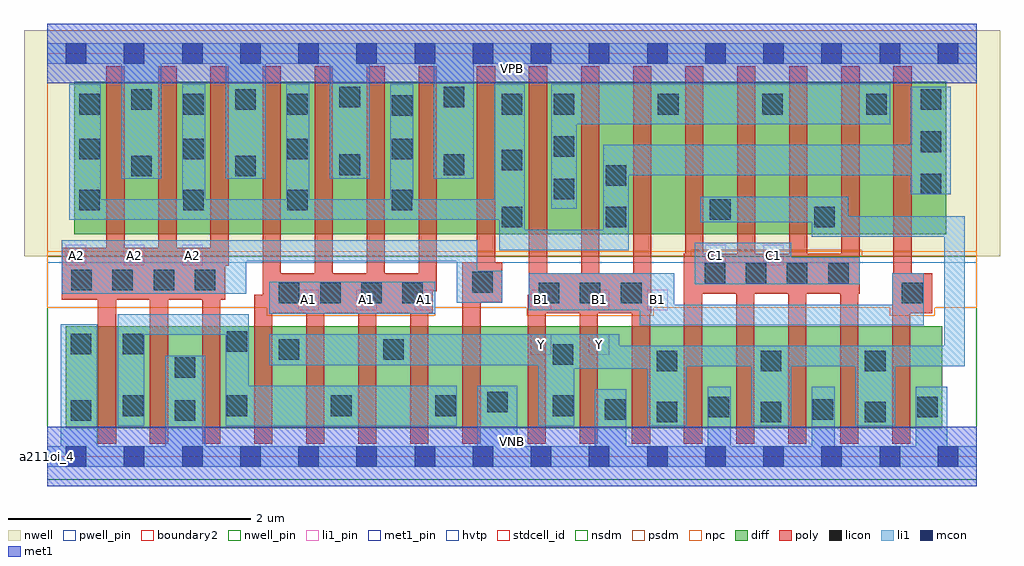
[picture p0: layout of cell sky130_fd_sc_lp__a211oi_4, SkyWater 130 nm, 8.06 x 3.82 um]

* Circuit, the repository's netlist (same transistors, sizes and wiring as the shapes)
* Copyright 2020 The SkyWater PDK Authors
*
* Licensed under the Apache License, Version 2.0 (the "License");
* you may not use this file except in compliance with the License.
* You may obtain a copy of the License at
*
*     https://www.apache.org/licenses/LICENSE-2.0
*
* Unless required by applicable law or agreed to in writing, software
* distributed under the License is distributed on an "AS IS" BASIS,
* WITHOUT WARRANTIES OR CONDITIONS OF ANY KIND, either express or implied.
* See the License for the specific language governing permissions and
* limitations under the License.
*
* SPDX-License-Identifier: Apache-2.0

.SUBCKT sky130_fd_sc_lp__a211oi_4 A1 A2 B1 C1 VGND VNB VPB VPWR Y
*.PININFO A1:I A2:I B1:I C1:I VGND:I VNB:I VPB:I VPWR:I Y:O
MMPA0 pndA A1 VPWR VPB sky130_fd_pr__pfet_01v8_hvt m=4 w=1.26U l=0.15U mult=1 sa=0.265
+ sb=0.265 sd=0.28 area=0.063 perim=1.14
MMPA1 pndA A2 VPWR VPB sky130_fd_pr__pfet_01v8_hvt m=4 w=1.26U l=0.15U mult=1 sa=0.265
+ sb=0.265 sd=0.28 area=0.063 perim=1.14
MMPB0 pndB B1 pndA VPB sky130_fd_pr__pfet_01v8_hvt m=4 w=1.26U l=0.15U mult=1 sa=0.265
+ sb=0.265 sd=0.28 area=0.063 perim=1.14
MMPC0 Y C1 pndB VPB sky130_fd_pr__pfet_01v8_hvt m=4 w=1.26U l=0.15U mult=1 sa=0.265
+ sb=0.265 sd=0.28 area=0.063 perim=1.14
MMNA0 Y A1 sndA1 VNB sky130_fd_pr__nfet_01v8 m=4 w=0.84U l=0.15U mult=1 sa=0.265
+ sb=0.265 sd=0.28 area=0.063 perim=1.14
MMNA1 sndA1 A2 VGND VNB sky130_fd_pr__nfet_01v8 m=4 w=0.84U l=0.15U mult=1 sa=0.265
+ sb=0.265 sd=0.28 area=0.063 perim=1.14
MMNB0 Y B1 VGND VNB sky130_fd_pr__nfet_01v8 m=4 w=0.84U l=0.15U mult=1 sa=0.265
+ sb=0.265 sd=0.28 area=0.063 perim=1.14
MMNC0 Y C1 VGND VNB sky130_fd_pr__nfet_01v8 m=4 w=0.84U l=0.15U mult=1 sa=0.265
+ sb=0.265 sd=0.28 area=0.063 perim=1.14
.ENDS sky130_fd_sc_lp__a211oi_4

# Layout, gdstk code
import gdstk
lib = gdstk.Library(unit=1e-6, precision=1e-09)
def R(c, l, rs):  # rectangles x0, y0, x1, y1
    for r in rs: c.add(gdstk.rectangle(r[:2], r[2:], *l))
def A(c, l, x, y, w, h, nx, ny, dx, dy):  # array of equal rectangles
    R(c, l, [(x+i*dx, y+j*dy, x+i*dx+w, y+j*dy+h) for i in range(nx) for j in range(ny)])
def P(c, l, *ps):  # polygons
    for p in ps: c.add(gdstk.Polygon(p, *l))
nwell_pin = (64, 16)
nwell = (64, 20)
diff = (65, 20)
poly = (66, 20)
licon = (66, 44)
li1_pin = (67, 16)
li1 = (67, 20)
mcon = (67, 44)
met1_pin = (68, 16)
met1 = (68, 20)
hvtp = (78, 44)
stdcell_id = (81, 4)
nsdm = (93, 44)
psdm = (94, 20)
npc = (95, 20)
pwell_pin = (122, 16)
boundary2 = (236, 0)

sky130_fd_sc_lp__a211oi_ = lib.new_cell('sky130_fd_sc_lp__a211oi_4')
R(sky130_fd_sc_lp__a211oi_, nwell_pin, [(0,3.085,7.68,3.33)])
R(sky130_fd_sc_lp__a211oi_, nwell, [(-0.19,1.655,7.87,3.52)])
R(sky130_fd_sc_lp__a211oi_, diff, [(0.155,0.235,7.395,1.075), (0.225,1.835,7.425,3.095)])
P(sky130_fd_sc_lp__a211oi_, poly, [(1.5,3.225),(1.35,3.225),(1.35,1.725),(1.07,1.725),(1.07,3.225),(0.92,3.225),(0.92,1.725),(0.64,1.725),(0.64,3.225),(0.49,3.225),(0.49,1.725),(0.12,1.725),(0.12,1.295),(0.42,1.295),(0.42,0.105),(0.57,0.105),(0.57,1.295),(0.85,1.295),(0.85,0.105),(1,0.105),(1,1.295),(1.28,1.295),(1.28,0.105),(1.43,0.105),(1.43,1.295),(1.47,1.295),(1.47,1.575),(1.5,1.575)],
  [(3.22,3.225),(3.07,3.225),(3.07,1.515),(2.79,1.515),(2.79,3.225),(2.64,3.225),(2.64,1.515),(2.36,1.515),(2.36,3.225),(2.21,3.225),(2.21,1.515),(1.93,1.515),(1.93,3.225),(1.78,3.225),(1.78,1.335),(1.71,1.335),(1.71,0.105),(1.86,0.105),(1.86,1.185),(2.14,1.185),(2.14,0.105),(2.29,0.105),(2.29,1.185),(2.57,1.185),(2.57,0.105),(2.72,0.105),(2.72,1.185),(3,1.185),(3,0.105),(3.15,0.105),(3.15,1.185),(3.185,1.185),(3.185,1.365),(3.22,1.365)],
  [(3.76,1.605),(3.7,1.605),(3.7,3.225),(3.55,3.225),(3.55,1.605),(3.43,1.605),(3.43,0.105),(3.58,0.105),(3.58,1.275),(3.76,1.275)],
  [(4.99,3.225),(4.84,3.225),(4.84,1.515),(4.56,1.515),(4.56,3.225),(4.41,3.225),(4.41,1.515),(4.13,1.515),(4.13,3.225),(3.98,3.225),(3.98,1.335),(3.97,1.335),(3.97,0.105),(4.12,0.105),(4.12,1.185),(4.4,1.185),(4.4,0.105),(4.55,0.105),(4.55,1.185),(4.83,1.185),(4.83,0.105),(4.98,0.105),(4.98,1.185),(4.99,1.185)],
  [(6.71,3.225),(6.56,3.225),(6.56,1.675),(6.28,1.675),(6.28,3.225),(6.13,3.225),(6.13,1.675),(5.85,1.675),(5.85,3.225),(5.7,3.225),(5.7,1.675),(5.42,1.675),(5.42,3.225),(5.27,3.225),(5.27,1.675),(5.26,1.675),(5.26,0.105),(5.41,0.105),(5.41,1.345),(5.69,1.345),(5.69,0.105),(5.84,0.105),(5.84,1.345),(6.12,1.345),(6.12,0.105),(6.27,0.105),(6.27,1.345),(6.55,1.345),(6.55,0.105),(6.7,0.105),(6.7,1.345),(6.71,1.345)],
  [(7.31,1.515),(7.14,1.515),(7.14,3.225),(6.99,3.225),(6.99,1.515),(6.98,1.515),(6.98,0.105),(7.13,0.105),(7.13,1.185),(7.31,1.185)])
A(sky130_fd_sc_lp__a211oi_, licon, 5.035, 0.285, 0.17, 0.17, 3, 2, 0.86, 0.42)
A(sky130_fd_sc_lp__a211oi_, licon, 0.625, 0.335, 0.17, 0.17, 4, 1, 0.86, 0)
A(sky130_fd_sc_lp__a211oi_, licon, 1.915, 1.265, 0.17, 0.17, 4, 1, 0.34, 0)
A(sky130_fd_sc_lp__a211oi_, licon, 4.06, 1.265, 0.17, 0.17, 3, 1, 0.34, 0)
A(sky130_fd_sc_lp__a211oi_, licon, 0.2, 1.375, 0.17, 0.17, 4, 1, 0.34, 0)
A(sky130_fd_sc_lp__a211oi_, licon, 5.43, 1.425, 0.17, 0.17, 4, 1, 0.34, 0)
A(sky130_fd_sc_lp__a211oi_, licon, 0.265, 2.035, 0.17, 0.17, 4, 2, 0.86, 0.42)
A(sky130_fd_sc_lp__a211oi_, licon, 7.215, 2.165, 0.17, 0.17, 1, 3, 0, 0.35)
A(sky130_fd_sc_lp__a211oi_, licon, 0.265, 2.825, 0.17, 0.17, 3, 1, 0.86, 0)
A(sky130_fd_sc_lp__a211oi_, licon, 4.185, 2.825, 0.17, 0.17, 4, 1, 0.86, 0)
R(sky130_fd_sc_lp__a211oi_, licon, [(0.195,0.295,0.365,0.465), (1.055,0.295,1.225,0.465), (4.605,0.305,4.775,0.475), (6.325,0.305,6.495,0.475), (5.465,0.325,5.635,0.495), (7.185,0.325,7.355,0.495), (4.175,0.335,4.345,0.505), (3.635,0.365,3.805,0.535), (1.055,0.65,1.225,0.82), (4.175,0.76,4.345,0.93), (1.915,0.8,2.085,0.97), (2.775,0.8,2.945,0.97), (0.195,0.845,0.365,1.015), (0.625,0.845,0.795,1.015), (1.485,0.865,1.655,1.035), (7.06,1.265,7.23,1.435), (3.51,1.355,3.68,1.525), (3.755,1.895,3.925,2.065), (4.615,1.895,4.785,2.065), (6.335,1.895,6.505,2.065), (5.475,1.955,5.645,2.125), (4.185,2.125,4.355,2.295), (4.615,2.235,4.785,2.405), (0.695,2.315,0.865,2.485), (1.555,2.315,1.725,2.485), (2.415,2.325,2.585,2.495), (3.275,2.325,3.445,2.495), (3.755,2.365,3.925,2.535), (4.185,2.475,4.355,2.645), (2.845,2.815,3.015,2.985), (3.755,2.825,3.925,2.995), (0.695,2.865,0.865,3.035), (1.555,2.865,1.725,3.035), (2.415,2.885,2.585,3.055), (3.275,2.885,3.445,3.055)])
A(sky130_fd_sc_lp__a211oi_, li1_pin, 2.075, 1.21, 0.17, 0.17, 3, 1, 0.48, 0)
A(sky130_fd_sc_lp__a211oi_, li1_pin, 3.995, 1.21, 0.17, 0.17, 3, 1, 0.48, 0)
A(sky130_fd_sc_lp__a211oi_, li1_pin, 0.155, 1.58, 0.17, 0.17, 3, 1, 0.48, 0)
R(sky130_fd_sc_lp__a211oi_, li1_pin, [(3.995,0.84,4.165,1.01), (4.475,0.84,4.645,1.01), (5.435,1.58,5.605,1.75), (5.915,1.58,6.085,1.75)])
R(sky130_fd_sc_lp__a211oi_, li1, [(1.835,1.18,3.205,1.445)])
P(sky130_fd_sc_lp__a211oi_, li1, [(7.68,3.415),(0,3.415),(0,3.245),(0.615,3.245),(0.615,2.295),(0.945,2.295),(0.945,3.245),(1.475,3.245),(1.475,2.295),(1.805,2.295),(1.805,3.245),(2.335,3.245),(2.335,2.295),(2.665,2.295),(2.665,3.245),(3.195,3.245),(3.195,2.295),(3.525,2.295),(3.525,3.245),(7.68,3.245)],
  [(7.58,1.985),(6.615,1.985),(6.615,2.145),(5.395,2.145),(5.395,1.935),(6.315,1.935),(6.315,1.815),(7.41,1.815),(7.41,0.915),(4.725,0.915),(4.725,1.01),(1.835,1.01),(1.835,0.755),(4.055,0.755),(4.055,0.255),(4.355,0.255),(4.355,0.725),(4.955,0.725),(4.955,0.255),(5.285,0.255),(5.285,0.745),(5.815,0.745),(5.815,0.255),(6.145,0.255),(6.145,0.745),(6.675,0.745),(6.675,0.255),(7.005,0.255),(7.005,0.745),(7.58,0.745)],
  [(7.465,3.055),(7.135,3.055),(7.135,2.575),(4.595,2.575),(4.595,1.875),(3.945,1.875),(3.945,3.075),(3.695,3.075),(3.695,2.125),(3.025,2.125),(3.025,3.075),(2.835,3.075),(2.835,2.125),(2.165,2.125),(2.165,3.075),(1.975,3.075),(1.975,2.125),(1.305,2.125),(1.305,3.075),(1.115,3.075),(1.115,2.125),(0.445,2.125),(0.445,3.075),(0.185,3.075),(0.185,1.955),(3.735,1.955),(3.735,1.705),(4.805,1.705),(4.805,2.325),(7.135,2.325),(7.135,2.165),(7.465,2.165)],
  [(3.385,0.585),(1.665,0.585),(1.665,1.175),(0.585,1.175),(0.585,0.255),(0.805,0.255),(0.805,1.005),(1.475,1.005),(1.475,0.255),(3.385,0.255)],
  [(3.76,1.535),(3.555,1.535),(3.555,1.785),(0.12,1.785),(0.12,1.345),(1.645,1.345),(1.645,1.615),(3.385,1.615),(3.385,1.27),(3.76,1.27)],
  [(7.24,1.515),(6.98,1.515),(6.98,1.255),(5.18,1.255),(5.18,1.515),(3.98,1.515),(3.98,1.21),(4.895,1.21),(4.895,1.085),(7.24,1.085)],
  [(7.68,0.085),(7.435,0.085),(7.435,0.575),(7.175,0.575),(7.175,0.085),(6.505,0.085),(6.505,0.575),(6.315,0.575),(6.315,0.085),(5.645,0.085),(5.645,0.575),(5.455,0.575),(5.455,0.085),(4.785,0.085),(4.785,0.555),(4.525,0.555),(4.525,0.085),(3.885,0.085),(3.885,0.585),(3.555,0.585),(3.555,0.085),(1.305,0.085),(1.305,0.835),(0.975,0.835),(0.975,0.085),(0.415,0.085),(0.415,1.095),(0.115,1.095),(0.115,0.085),(0,0.085),(0,-0.085),(7.68,-0.085)],
  [(6.71,1.645),(6.145,1.645),(6.145,1.765),(5.35,1.765),(5.35,1.425),(6.71,1.425)],
  [(6.965,3.075),(4.165,3.075),(4.165,2.045),(4.375,2.045),(4.375,2.745),(6.965,2.745)])
A(sky130_fd_sc_lp__a211oi_, mcon, 0.155, -0.085, 0.17, 0.17, 16, 2, 0.48, 3.33)
R(sky130_fd_sc_lp__a211oi_, met1_pin, [(0,0,7.68,0.245), (0,3.085,7.68,3.33)])
R(sky130_fd_sc_lp__a211oi_, met1, [(0,-0.245,7.68,0.245), (0,3.085,7.68,3.575)])
R(sky130_fd_sc_lp__a211oi_, hvtp, [(0,1.6,7.68,3.33)])
R(sky130_fd_sc_lp__a211oi_, stdcell_id, [(0,0,7.68,3.33)])
R(sky130_fd_sc_lp__a211oi_, nsdm, [(0,-0.19,7.68,1.655)])
P(sky130_fd_sc_lp__a211oi_, psdm, [(7.68,3.52),(0,3.52),(0,1.655),(5.32,1.655),(5.32,1.705),(6.73,1.705),(6.73,1.655),(7.68,1.655)])
P(sky130_fd_sc_lp__a211oi_, npc, [(7.68,1.695),(0,1.695),(0,1.23),(1.815,1.23),(1.815,1.165),(3.205,1.165),(3.205,1.23),(3.96,1.23),(3.96,1.165),(5.01,1.165),(5.01,1.23),(6.96,1.23),(6.96,1.165),(7.33,1.165),(7.33,1.23),(7.68,1.23)])
R(sky130_fd_sc_lp__a211oi_, pwell_pin, [(0,0,7.68,0.245)])
R(sky130_fd_sc_lp__a211oi_, boundary2, [(0,0,7.68,3.33)])
sky130_fd_sc_lp__a211oi_.add(gdstk.Label('VNB', (3.84,0.123), layer=64, texttype=59))
sky130_fd_sc_lp__a211oi_.add(gdstk.Label('VPB', (3.84,3.208), layer=64, texttype=5))
sky130_fd_sc_lp__a211oi_.add(gdstk.Label('a211oi_4', (0,0), layer=83, texttype=44))
sky130_fd_sc_lp__a211oi_.add(gdstk.Label('VPWR', (3.84,3.208), layer=68, texttype=5))
sky130_fd_sc_lp__a211oi_.add(gdstk.Label('VGND', (3.84,0.123), layer=68, texttype=5))
sky130_fd_sc_lp__a211oi_.add(gdstk.Label('A1', (2.16,1.295), layer=67, texttype=5))
sky130_fd_sc_lp__a211oi_.add(gdstk.Label('A1', (2.64,1.295), layer=67, texttype=5))
sky130_fd_sc_lp__a211oi_.add(gdstk.Label('A1', (3.12,1.295), layer=67, texttype=5))
sky130_fd_sc_lp__a211oi_.add(gdstk.Label('Y', (4.08,0.925), layer=67, texttype=5))
sky130_fd_sc_lp__a211oi_.add(gdstk.Label('Y', (4.56,0.925), layer=67, texttype=5))
sky130_fd_sc_lp__a211oi_.add(gdstk.Label('A2', (0.24,1.665), layer=67, texttype=5))
sky130_fd_sc_lp__a211oi_.add(gdstk.Label('A2', (0.72,1.665), layer=67, texttype=5))
sky130_fd_sc_lp__a211oi_.add(gdstk.Label('A2', (1.2,1.665), layer=67, texttype=5))
sky130_fd_sc_lp__a211oi_.add(gdstk.Label('C1', (5.52,1.665), layer=67, texttype=5))
sky130_fd_sc_lp__a211oi_.add(gdstk.Label('C1', (6,1.665), layer=67, texttype=5))
sky130_fd_sc_lp__a211oi_.add(gdstk.Label('B1', (4.08,1.295), layer=67, texttype=5))
sky130_fd_sc_lp__a211oi_.add(gdstk.Label('B1', (4.56,1.295), layer=67, texttype=5))
sky130_fd_sc_lp__a211oi_.add(gdstk.Label('B1', (5.04,1.295), layer=67, texttype=5))

lib.write_gds('sky130_fd_sc_lp__a211oi_4.gds')
